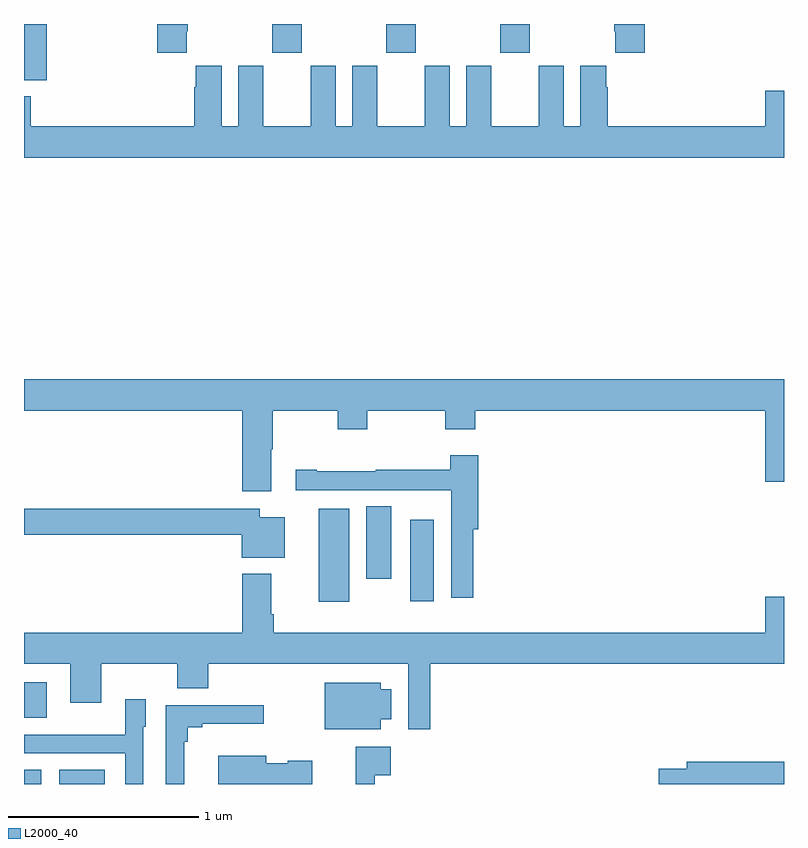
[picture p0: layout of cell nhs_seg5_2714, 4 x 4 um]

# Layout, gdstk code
import gdstk
lib = gdstk.Library(unit=1e-6, precision=1e-09)
def R(c, l, rs):  # rectangles x0, y0, x1, y1
    for r in rs: c.add(gdstk.rectangle(r[:2], r[2:], *l))
def A(c, l, x, y, w, h, nx, ny, dx, dy):  # array of equal rectangles
    R(c, l, [(x+i*dx, y+j*dy, x+i*dx+w, y+j*dy+h) for i in range(nx) for j in range(ny)])
def P(c, l, *ps):  # polygons
    for p in ps: c.add(gdstk.Polygon(p, *l))
L2000_40 = (2000, 40)

nhs_seg5_2714 = lib.new_cell('nhs_seg5_2714')
A(nhs_seg5_2714, L2000_40, 270.307, 854.649, 0.155, 0.15, 3, 1, 0.6, 0)
R(nhs_seg5_2714, L2000_40, [(269,850.799,269.092,850.873), (269.186,850.799,269.425,850.873), (269,851.148,269.119,851.335), (270.551,851.757,270.712,852.247), (271.034,851.76,271.156,852.19), (270.8,851.88,270.934,852.26), (269,854.504,269.119,854.799)])
P(nhs_seg5_2714, L2000_40, [(272.267,854.799),(272.107,854.799),(272.107,854.761),(272.111,854.761),(272.111,854.649),(272.267,854.649)],
  [(269.857,854.761),(269.862,854.761),(269.862,854.799),(269.702,854.799),(269.702,854.649),(269.857,854.649)],
  [(273,854.449),(272.9,854.449),(272.9,854.26),(272.072,854.26),(272.072,854.465),(272.065,854.465),(272.065,854.578),(271.928,854.578),(271.928,854.26),(271.84,854.26),(271.84,854.578),(271.709,854.578),(271.709,854.26),(271.459,854.26),(271.459,854.578),(271.328,854.578),(271.328,854.26),(271.24,854.26),(271.24,854.578),(271.109,854.578),(271.109,854.26),(270.859,854.26),(270.859,854.578),(270.728,854.578),(270.728,854.26),(270.64,854.26),(270.64,854.578),(270.509,854.578),(270.509,854.26),(270.259,854.26),(270.259,854.578),(270.128,854.578),(270.128,854.26),(270.04,854.26),(270.04,854.578),(269.903,854.578),(269.903,854.465),(269.897,854.465),(269.897,854.26),(269.036,854.26),(269.036,854.419),(269,854.419),(269,854.096),(273,854.096)],
  [(270.301,852.56),(270.309,852.56),(270.309,852.764),(270.652,852.764),(270.652,852.665),(270.807,852.665),(270.807,852.764),(271.216,852.764),(271.216,852.665),(271.376,852.665),(271.376,852.764),(272.9,852.764),(272.9,852.39),(273,852.39),(273,852.928),(269,852.928),(269,852.764),(270.149,852.764),(270.149,852.339),(270.301,852.339)],
  [(271.364,852.14),(271.391,852.14),(271.391,852.529),(271.244,852.529),(271.244,852.454),(270.851,852.454),(270.851,852.444),(270.541,852.444),(270.541,852.454),(270.429,852.454),(270.429,852.345),(271.038,852.345),(271.038,852.344),(271.248,852.344),(271.248,851.778),(271.364,851.778)],
  [(270.373,852.202),(270.24,852.202),(270.24,852.248),(269,852.248),(269,852.112),(270.146,852.112),(270.146,851.99),(270.373,851.99)],
  [(271.139,851.432),(273,851.432),(273,851.785),(272.9,851.785),(272.9,851.596),(270.314,851.596),(270.314,851.692),(270.301,851.692),(270.301,851.905),(270.149,851.905),(270.149,851.596),(269,851.596),(269,851.432),(269.243,851.432),(269.243,851.226),(269.407,851.226),(269.407,851.432),(269.807,851.432),(269.807,851.304),(269.971,851.304),(269.971,851.432),(271.023,851.432),(271.023,851.088),(271.139,851.088)],
  [(270.877,851.141),(270.934,851.141),(270.934,851.299),(270.877,851.299),(270.877,851.332),(270.584,851.332),(270.584,851.087),(270.877,851.087)],
  [(269.628,851.1),(269.641,851.1),(269.641,851.245),(269.532,851.245),(269.532,851.059),(269.215,851.059),(269.215,851.058),(269,851.058),(269,850.962),(269.532,850.962),(269.532,850.799),(269.628,850.799)],
  [(269.843,851.021),(269.861,851.021),(269.861,851.098),(269.938,851.098),(269.938,851.117),(270.262,851.117),(270.262,851.214),(269.745,851.214),(269.745,850.799),(269.843,850.799)],
  [(270.845,850.844),(270.931,850.844),(270.931,850.996),(270.745,850.996),(270.745,850.799),(270.845,850.799)],
  [(270.517,850.922),(270.387,850.922),(270.387,850.909),(270.274,850.909),(270.274,850.948),(270.023,850.948),(270.023,850.799),(270.517,850.799)],
  [(273,850.916),(272.489,850.916),(272.489,850.88),(272.34,850.88),(272.34,850.799),(273,850.799)])

lib.write_gds('nhs_seg5_2714.gds')
